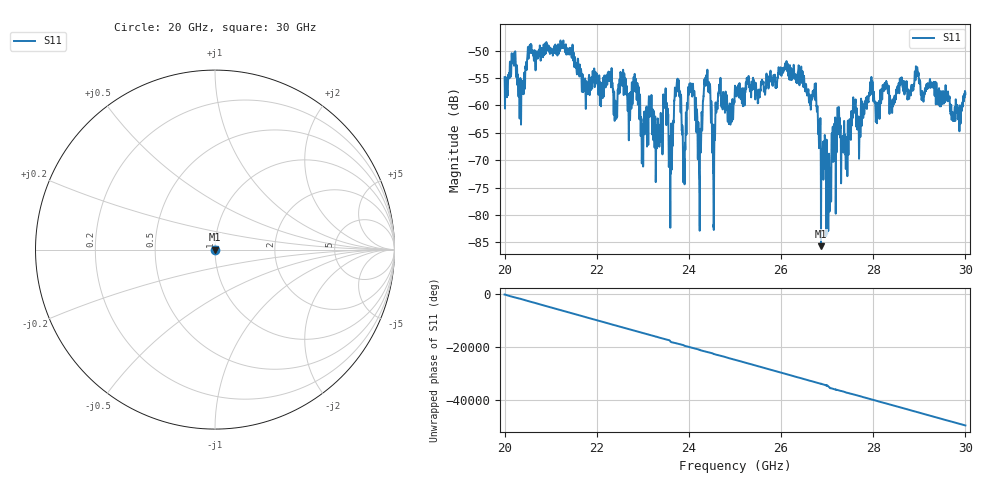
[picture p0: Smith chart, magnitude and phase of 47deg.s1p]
#  HZ  S  RI  R  50.00
! Rohde & Schwarz ZVA40 4Ports - Version 3.90 - 1145.1110k42 SN: 100403
! Date: 2023-10-03 10:44:33
! Measurement: S12
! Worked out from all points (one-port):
!   5001 points, 20 GHz to 30 GHz, reference 50 ohm
!   lowest |S11| = -85.7 dB at 26.87 GHz (marker M1), VSWR 1.00, Z = 50 - j0.00115 ohm
!   |S11| at or under -10 dB: start of sweep to end of sweep
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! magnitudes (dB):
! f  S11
! 20 GHz  -54.9
! 20.37 GHz  -56.0
! 21.25 GHz  -49.4
! 21.75 GHz  -56.5
! 22.5 GHz  -56.2
! 22.87 GHz  -58.7
! 23 GHz  -64.7
! 23.17 GHz  -61.5
! 23.33 GHz  -62.7
! 23.49 GHz  -57.5
! 23.61 GHz  -72.4
! 23.75 GHz  -55.2
! 23.9 GHz  -70.1
! 24.03 GHz  -56.7
! 24.24 GHz  -76.2
! 24.37 GHz  -55.8
! 24.52 GHz  -72.3
! 24.65 GHz  -57.4
! 25 GHz  -56.4
! 26.25 GHz  -53.6
! 26.72 GHz  -58.0
! 26.87 GHz  -85.7
! 27.04 GHz  -69.4
! 27.24 GHz  -65.3
! 27.5 GHz  -65.3
! 27.95 GHz  -57.8
! 28.75 GHz  -58.4
! 30 GHz  -57.9
